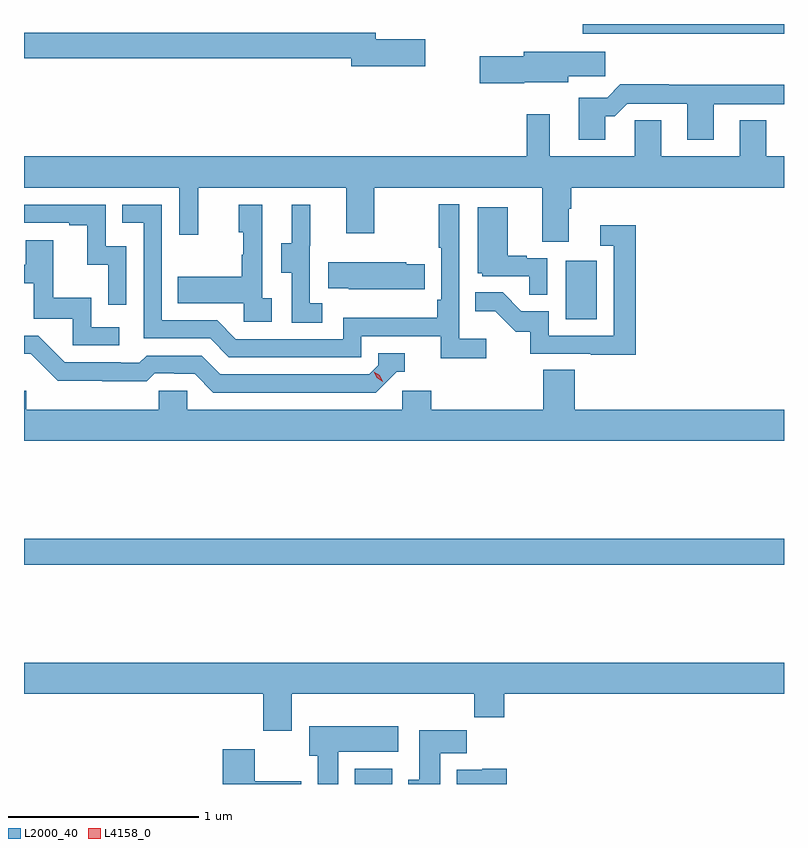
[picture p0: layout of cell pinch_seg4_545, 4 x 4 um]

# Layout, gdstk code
import gdstk
lib = gdstk.Library(unit=1e-6, precision=1e-09)
def R(c, l, rs):  # rectangles x0, y0, x1, y1
    for r in rs: c.add(gdstk.rectangle(r[:2], r[2:], *l))
def P(c, l, *ps):  # polygons
    for p in ps: c.add(gdstk.Polygon(p, *l))
L2000_40 = (2000, 40)
L4158_0 = (4158, 0)

pinch_seg4_545 = lib.new_cell('pinch_seg4_545')
R(pinch_seg4_545, L2000_40, [(1118.63,779.029,1118.827,779.11), (1116.889,780.184,1120.889,780.32), (1119.74,781.476,1119.904,781.783), (1119.83,782.978,1120.889,783.029)])
P(pinch_seg4_545, L2000_40, [(1119.001,782.948),(1118.74,782.948),(1118.74,782.984),(1116.889,782.984),(1116.889,782.848),(1118.612,782.848),(1118.612,782.806),(1119.001,782.806)],
  [(1119.522,782.723),(1119.754,782.723),(1119.754,782.755),(1119.949,782.755),(1119.949,782.884),(1119.518,782.884),(1119.518,782.858),(1119.288,782.858),(1119.288,782.716),(1119.522,782.716)],
  [(1119.949,782.543),(1119.998,782.543),(1120.065,782.61),(1120.379,782.61),(1120.379,782.421),(1120.519,782.421),(1120.519,782.607),(1120.889,782.607),(1120.889,782.708),(1120.283,782.708),(1120.283,782.711),(1120.028,782.711),(1119.958,782.641),(1119.809,782.641),(1119.809,782.421),(1119.949,782.421)],
  [(1119.757,782.056),(1119.77,782.056),(1119.77,782.168),(1120.889,782.168),(1120.889,782.332),(1120.795,782.332),(1120.795,782.522),(1120.655,782.522),(1120.655,782.332),(1120.243,782.332),(1120.243,782.522),(1120.104,782.522),(1120.104,782.332),(1119.655,782.332),(1119.655,782.554),(1119.534,782.554),(1119.534,782.332),(1116.889,782.332),(1116.889,782.168),(1117.707,782.168),(1117.707,781.92),(1117.805,781.92),(1117.805,782.168),(1118.585,782.168),(1118.585,781.929),(1118.733,781.929),(1118.733,782.168),(1119.617,782.168),(1119.617,781.882),(1119.757,781.882)],
  [(1119.322,781.372),(1119.18,781.372),(1119.18,782.08),(1119.072,782.08),(1119.072,781.852),(1119.084,781.852),(1119.084,781.579),(1119.064,781.579),(1119.064,781.483),(1118.568,781.483),(1118.568,781.371),(1118.004,781.371),(1117.905,781.47),(1117.614,781.47),(1117.614,782.079),(1117.405,782.079),(1117.405,781.983),(1117.518,781.983),(1117.518,781.374),(1117.868,781.374),(1117.967,781.275),(1118.664,781.275),(1118.664,781.386),(1119.083,781.386),(1119.083,781.27),(1119.322,781.27)],
  [(1117.428,781.86),(1117.32,781.86),(1117.32,782.079),(1116.889,782.079),(1116.889,781.983),(1117.127,781.983),(1117.127,781.971),(1117.223,781.971),(1117.223,781.763),(1117.332,781.763),(1117.332,781.551),(1117.428,781.551)],
  [(1118.194,781.586),(1118.142,781.586),(1118.142,782.077),(1118.018,782.077),(1118.018,781.932),(1118.044,781.932),(1118.044,781.814),(1118.034,781.814),(1118.034,781.699),(1117.699,781.699),(1117.699,781.559),(1118.046,781.559),(1118.046,781.461),(1118.194,781.461)],
  [(1118.458,781.559),(1118.394,781.559),(1118.394,781.863),(1118.396,781.863),(1118.396,782.077),(1118.297,782.077),(1118.297,781.875),(1118.243,781.875),(1118.243,781.72),(1118.298,781.72),(1118.298,781.456),(1118.458,781.456)],
  [(1119.642,781.797),(1119.536,781.797),(1119.536,781.81),(1119.436,781.81),(1119.436,782.065),(1119.278,782.065),(1119.278,781.716),(1119.3,781.716),(1119.3,781.701),(1119.547,781.701),(1119.547,781.603),(1119.642,781.603)],
  [(1120.109,781.969),(1119.921,781.969),(1119.921,781.863),(1119.993,781.863),(1119.993,781.389),(1119.651,781.389),(1119.651,781.518),(1119.507,781.518),(1119.409,781.616),(1119.265,781.616),(1119.265,781.517),(1119.369,781.517),(1119.476,781.41),(1119.553,781.41),(1119.553,781.293),(1119.871,781.293),(1119.871,781.288),(1120.109,781.288)],
  [(1117.39,781.434),(1117.242,781.434),(1117.242,781.588),(1117.043,781.588),(1117.043,781.891),(1116.899,781.891),(1116.899,781.761),(1116.889,781.761),(1116.889,781.665),(1116.941,781.665),(1116.941,781.479),(1117.146,781.479),(1117.146,781.338),(1117.39,781.338)],
  [(1118.999,781.764),(1118.901,781.764),(1118.901,781.774),(1118.491,781.774),(1118.491,781.637),(1118.599,781.637),(1118.599,781.634),(1118.999,781.634)],
  [(1118.85,781.2),(1118.893,781.2),(1118.893,781.296),(1118.754,781.296),(1118.754,781.233),(1118.706,781.185),(1117.923,781.185),(1117.824,781.284),(1117.535,781.284),(1117.496,781.245),(1117.397,781.245),(1117.397,781.248),(1117.104,781.248),(1116.963,781.389),(1116.889,781.389),(1116.889,781.293),(1116.924,781.293),(1117.066,781.151),(1117.302,781.151),(1117.302,781.149),(1117.535,781.149),(1117.577,781.191),(1117.68,781.191),(1117.68,781.188),(1117.787,781.188),(1117.886,781.089),(1118.739,781.089)],
  [(1120.889,781),(1119.788,781),(1119.788,781.208),(1119.623,781.208),(1119.623,781),(1119.032,781),(1119.032,781.098),(1118.88,781.098),(1118.88,781),(1117.749,781),(1117.749,781.098),(1117.599,781.098),(1117.599,781),(1116.902,781),(1116.902,781.098),(1116.889,781.098),(1116.889,780.836),(1120.889,780.836)],
  [(1118.299,779.504),(1119.259,779.504),(1119.259,779.38),(1119.416,779.38),(1119.416,779.504),(1120.889,779.504),(1120.889,779.668),(1116.889,779.668),(1116.889,779.504),(1118.147,779.504),(1118.147,779.31),(1118.299,779.31)],
  [(1118.542,779.198),(1118.86,779.198),(1118.86,779.332),(1118.39,779.332),(1118.39,779.178),(1118.435,779.178),(1118.435,779.029),(1118.542,779.029)],
  [(1119.079,779.192),(1119.218,779.192),(1119.218,779.311),(1118.969,779.311),(1118.969,779.052),(1118.912,779.052),(1118.912,779.029),(1119.079,779.029)],
  [(1118.347,779.044),(1118.104,779.044),(1118.104,779.212),(1117.934,779.212),(1117.934,779.029),(1118.347,779.029)],
  [(1119.431,779.11),(1119.3,779.11),(1119.3,779.104),(1119.167,779.104),(1119.167,779.029),(1119.431,779.029)])
P(pinch_seg4_545, L4158_0, [(1118.777,781.147),(1118.746,781.166),(1118.729,781.198),(1118.729,781.199),(1118.73,781.199),(1118.761,781.18),(1118.778,781.147),(1118.778,781.147)])

lib.write_gds('pinch_seg4_545.gds')
